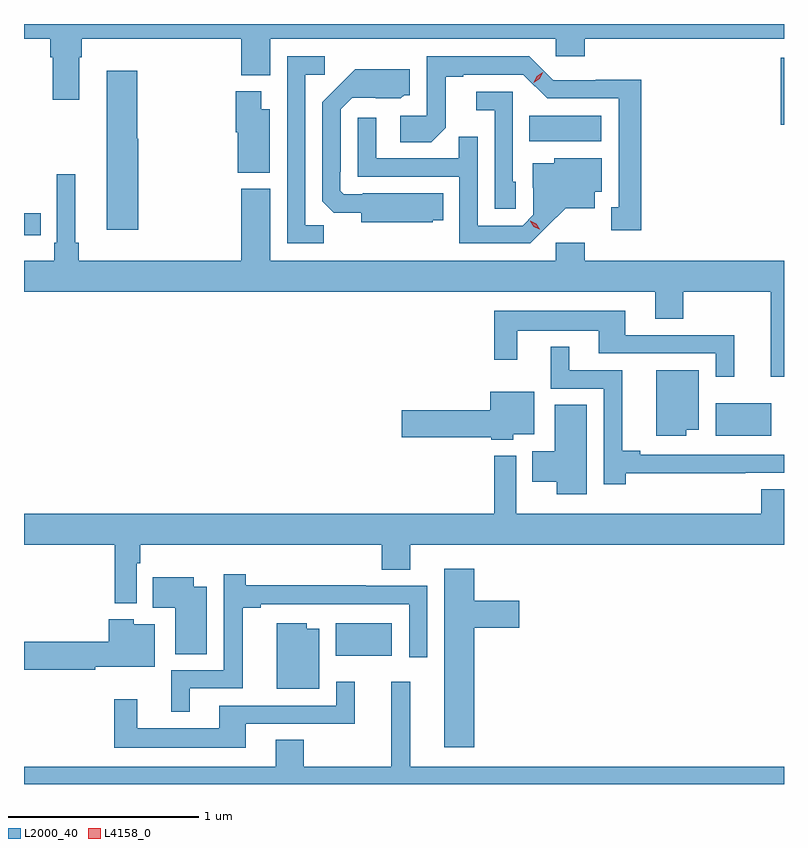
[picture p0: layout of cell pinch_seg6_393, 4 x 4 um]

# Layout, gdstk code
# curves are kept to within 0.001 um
import gdstk
lib = gdstk.Library(unit=1e-6, precision=1e-09)
def R(c, l, rs):  # rectangles x0, y0, x1, y1
    for r in rs: c.add(gdstk.rectangle(r[:2], r[2:], *l))
def P(c, l, *ps):  # polygons
    for p in ps: c.add(gdstk.Polygon(p, *l))
L2000_40 = (2000, 40)
L4158_0 = (4158, 0)

pinch_seg6_393 = lib.new_cell('pinch_seg6_393')
R(pinch_seg6_393, L2000_40, [(635.63,930.77,635.923,930.94), (637.628,931.928,637.921,932.098), (633.988,932.982,634.076,933.098), (636.646,933.476,637.027,933.61), (637.97,933.563,637.988,933.916)])
P(pinch_seg6_393, L2000_40, [(634.279,933.92),(634.292,933.92),(634.292,934.016),(635.132,934.016),(635.132,933.824),(635.284,933.824),(635.284,934.016),(636.786,934.016),(636.786,933.923),(636.938,933.923),(636.938,934.016),(637.988,934.016),(637.988,934.094),(633.988,934.094),(633.988,934.016),(634.127,934.016),(634.127,933.92),(634.139,933.92),(634.139,933.696),(634.279,933.696)],
  [(635.565,933.035),(635.469,933.035),(635.469,933.828),(635.572,933.828),(635.572,933.924),(635.373,933.924),(635.373,932.94),(635.565,932.94)],
  [(637.237,933.8),(636.996,933.8),(636.996,933.798),(636.774,933.798),(636.648,933.924),(636.108,933.924),(636.108,933.612),(635.967,933.612),(635.967,933.472),(636.131,933.472),(636.207,933.548),(636.207,933.816),(636.301,933.816),(636.301,933.828),(636.615,933.828),(636.741,933.702),(637.118,933.702),(637.118,933.129),(637.079,933.129),(637.079,933.009),(637.237,933.009)],
  [(636.138,933.062),(636.194,933.062),(636.194,933.202),(635.77,933.202),(635.77,933.198),(635.67,933.198),(635.652,933.216),(635.652,933.316),(635.655,933.316),(635.655,933.645),(635.715,933.705),(635.972,933.704),(635.988,933.72),(636.019,933.72),(636.019,933.856),(635.731,933.856),(635.559,933.682),(635.559,933.16),(635.618,933.101),(635.762,933.101),(635.762,933.05),(636.138,933.05)],
  [(634.588,933.489),(634.583,933.489),(634.583,933.847),(634.424,933.847),(634.424,933.012),(634.588,933.012)],
  [(635.281,933.646),(635.236,933.646),(635.236,933.739),(635.102,933.739),(635.102,933.525),(635.114,933.525),(635.114,933.311),(635.281,933.311)],
  [(636.576,933.264),(636.561,933.264),(636.561,933.738),(636.369,933.738),(636.369,933.641),(636.465,933.641),(636.465,933.121),(636.576,933.121)],
  [(636.736,933.023),(636.839,933.125),(636.991,933.125),(636.991,933.212),(637.03,933.212),(637.03,933.388),(636.78,933.388),(636.78,933.361),(636.665,933.361),(636.665,933.232),(636.669,933.232),(636.669,933.09),(636.612,933.033),(636.375,933.033),(636.375,933.5),(636.277,933.5),(636.277,933.387),(635.841,933.387),(635.841,933.601),(635.745,933.601),(635.745,933.291),(636.279,933.291),(636.279,932.94),(636.652,932.94)],
  [(637.988,932.848),(636.938,932.848),(636.938,932.944),(636.786,932.944),(636.786,932.848),(635.284,932.848),(635.284,933.226),(635.132,933.226),(635.132,932.848),(634.277,932.848),(634.277,932.944),(634.258,932.944),(634.258,933.304),(634.161,933.304),(634.161,932.944),(634.148,932.944),(634.148,932.848),(633.988,932.848),(633.988,932.684),(637.31,932.684),(637.31,932.542),(637.458,932.542),(637.458,932.684),(637.919,932.684),(637.919,932.238),(637.988,932.238)],
  [(637.727,932.457),(637.153,932.457),(637.153,932.584),(636.462,932.584),(636.462,932.328),(636.583,932.328),(636.583,932.48),(637.013,932.48),(637.013,932.361),(637.629,932.361),(637.629,932.238),(637.727,932.238)],
  [(637.154,931.73),(637.784,931.73),(637.784,931.731),(637.988,931.731),(637.988,931.827),(637.231,931.827),(637.231,931.847),(637.136,931.847),(637.136,932.271),(636.859,932.271),(636.859,932.395),(636.761,932.395),(636.761,932.175),(637.038,932.175),(637.038,931.671),(637.154,931.671)],
  [(637.474,931.958),(637.54,931.958),(637.54,932.272),(637.316,932.272),(637.316,931.928),(637.474,931.928)],
  [(636.564,931.934),(636.673,931.934),(636.673,932.158),(636.443,932.158),(636.443,932.06),(635.976,932.06),(635.976,931.918),(636.447,931.918),(636.447,931.907),(636.564,931.907)],
  [(636.949,932.09),(636.782,932.09),(636.782,931.846),(636.664,931.846),(636.664,931.685),(636.791,931.685),(636.791,931.62),(636.949,931.62)],
  [(634.581,931.256),(634.601,931.256),(634.601,931.352),(635.87,931.352),(635.87,931.222),(636.022,931.222),(636.022,931.352),(637.988,931.352),(637.988,931.646),(637.868,931.646),(637.868,931.516),(636.579,931.516),(636.579,931.822),(636.463,931.822),(636.463,931.516),(633.988,931.516),(633.988,931.352),(634.465,931.352),(634.465,931.046),(634.581,931.046)],
  [(636.359,930.917),(636.595,930.917),(636.595,931.059),(636.359,931.059),(636.359,931.228),(636.2,931.228),(636.2,930.288),(636.359,930.288)],
  [(634.861,930.597),(635.138,930.597),(635.138,931.021),(635.233,931.021),(635.233,931.041),(636.015,931.041),(636.015,930.762),(636.111,930.762),(636.111,931.137),(635.786,931.137),(635.786,931.139),(635.156,931.139),(635.156,931.198),(635.04,931.198),(635.04,930.693),(634.763,930.693),(634.763,930.473),(634.861,930.473)],
  [(634.951,931.132),(634.882,931.132),(634.882,931.183),(634.666,931.183),(634.666,931.022),(634.784,931.022),(634.784,930.778),(634.951,930.778)],
  [(634.362,930.71),(634.675,930.71),(634.675,930.934),(634.566,930.934),(634.566,930.961),(634.433,930.961),(634.433,930.842),(633.988,930.842),(633.988,930.695),(634.362,930.695)],
  [(635.542,930.91),(635.476,930.91),(635.476,930.94),(635.318,930.94),(635.318,930.596),(635.542,930.596)],
  [(635.155,930.411),(635.729,930.411),(635.729,930.631),(635.631,930.631),(635.631,930.507),(635.015,930.507),(635.015,930.388),(634.585,930.388),(634.585,930.541),(634.464,930.541),(634.464,930.284),(635.155,930.284)],
  [(637.988,930.184),(636.02,930.184),(636.02,930.631),(635.921,930.631),(635.921,930.184),(635.46,930.184),(635.46,930.326),(635.312,930.326),(635.312,930.184),(633.988,930.184),(633.988,930.094),(637.988,930.094)])
P(pinch_seg6_393, L4158_0, [(636.67,933.786),(636.67,933.786),(636.687,933.819),(636.718,933.839),(636.719,933.839),(636.719,933.838),(636.702,933.806),(636.671,933.786)],
  [(636.701,933.013),(636.67,933.028),(636.653,933.057),(636.653,933.058),(636.653,933.058),(636.684,933.043),(636.702,933.013),(636.702,933.013)])

lib.write_gds('pinch_seg6_393.gds')
